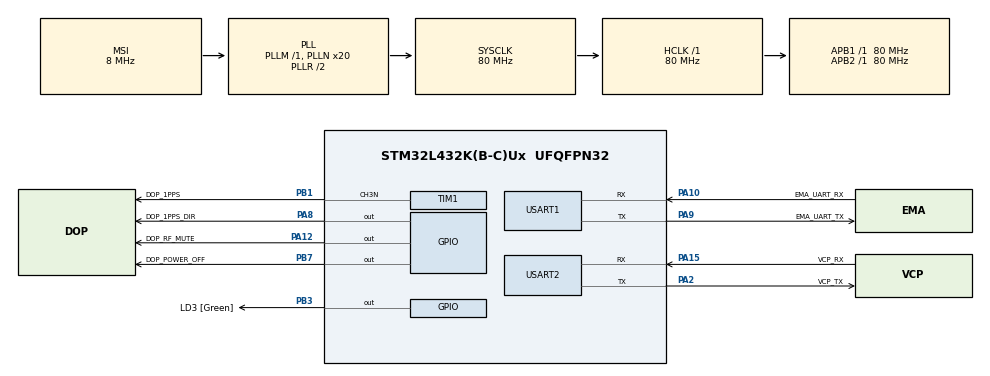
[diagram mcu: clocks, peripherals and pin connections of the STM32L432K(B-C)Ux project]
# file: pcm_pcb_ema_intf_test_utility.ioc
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FREERTOS.INCLUDE_eTaskGetState=1
FREERTOS.INCLUDE_uxTaskGetStackHighWaterMark=1
FREERTOS.INCLUDE_vTaskDelayUntil=1
FREERTOS.INCLUDE_xQueueGetMutexHolder=1
FREERTOS.Queues01=serialRxEventQueue,256,uint32_t,0,Dynamic,NULL,NULL;serialCmdTaskPcRxData,256,uint32_t,0,Dynamic,NULL,NULL;serialCmdTaskPcTxData,256,uint32_t,0,Dynamic,NULL,NULL;serialCmdTaskEmaRxData,256,uint32_t,0,Dynamic,NULL,NULL;serialCmdTaskEmaTxData,256,uint32_t,0,Dynamic,NULL,NULL
FREERTOS.Tasks01=defaultTask,0,128,StartDefaultTask,Default,NULL,Dynamic,NULL,NULL;serialBufferRxTask,0,256,sbt_SerialBufferRxTask,As external,NULL,Dynamic,NULL,NULL;serialCmdTask,0,512,sct_SerialCmdTask,As external,NULL,Dynamic,NULL,NULL;serialBufferTxTask,0,256,sbt_SerialBufferTxTask,As external,NULL,Dynamic,NULL,NULL;serialCmdEmaTask,0,128,sct_SerialCmdEmaTask,As external,NULL,Dynamic,NULL,NULL
FREERTOS.configMAX_TASK_NAME_LEN=32
FREERTOS.configTOTAL_HEAP_SIZE=12000
Mcu.Family=STM32L4
Mcu.Name=STM32L432K(B-C)Ux
Mcu.Package=UFQFPN32
NVIC.PriorityGroup=NVIC_PRIORITYGROUP_4
NVIC.TIM1_CC_IRQn=true\:5\:0\:true\:false\:true\:false\:true\:true
NVIC.TIM2_IRQn=true\:0\:0\:false\:false\:true\:false\:false\:true
NVIC.TimeBase=TIM2_IRQn
NVIC.TimeBaseIP=TIM2
NVIC.USART1_IRQn=true\:5\:0\:false\:false\:true\:true\:true\:true
NVIC.USART2_IRQn=true\:5\:0\:false\:false\:true\:true\:true\:true
PA0.GPIO_Label=MCO [High speed clock in]
PA0.Signal=RCC_CK_IN
PA10.GPIO_Label=EMA_UART_RX
PA10.Mode=Asynchronous
PA10.Signal=USART1_RX
PA12.GPIO_Label=DOP_RF_MUTE
PA12.Signal=GPIO_Output
PA13\ (JTMS-SWDIO).GPIO_Label=SWDIO
PA13\ (JTMS-SWDIO).Mode=Serial_Wire
PA13\ (JTMS-SWDIO).Signal=SYS_JTMS-SWDIO
PA14\ (JTCK-SWCLK).GPIO_Label=SWCLK
PA14\ (JTCK-SWCLK).Mode=Serial_Wire
PA14\ (JTCK-SWCLK).Signal=SYS_JTCK-SWCLK
PA15\ (JTDI).GPIO_Label=VCP_RX
PA15\ (JTDI).Mode=Asynchronous
PA15\ (JTDI).Signal=USART2_RX
PA2.GPIO_Label=VCP_TX
PA2.Mode=Asynchronous
PA2.Signal=USART2_TX
PA8.GPIO_Label=DOP_1PPS_DIR
PA8.PinState=GPIO_PIN_SET
PA8.Signal=GPIO_Output
PA9.GPIO_Label=EMA_UART_TX
PA9.Mode=Asynchronous
PA9.Signal=USART1_TX
PB1.GPIO_Label=DOP_1PPS
PB1.Mode=PWM Generation3 CH3N
PB1.Signal=TIM1_CH3N
PB3\ (JTDO-TRACESWO).GPIO_Label=LD3 [Green]
PB3\ (JTDO-TRACESWO).Signal=GPIO_Output
PB7.GPIO_Label=DOP_POWER_OFF
PB7.Signal=GPIO_Output
PC14-OSC32_IN\ (PC14).Mode=LSE-External-Oscillator
PC14-OSC32_IN\ (PC14).Signal=RCC_OSC32_IN
PC15-OSC32_OUT\ (PC15).Mode=LSE-External-Oscillator
PC15-OSC32_OUT\ (PC15).Signal=RCC_OSC32_OUT
ProjectManager.HeapSize=0x200
ProjectManager.StackSize=0x400
ProjectManager.TargetToolchain=STM32CubeIDE
RCC.ADCFreq_Value=32000000
RCC.AHBFreq_Value=80000000
RCC.APB1Freq_Value=80000000
RCC.APB1TimFreq_Value=80000000
RCC.APB2Freq_Value=80000000
RCC.APB2TimFreq_Value=80000000
RCC.CortexFreq_Value=80000000
RCC.HCLKFreq_Value=80000000
RCC.HSE_VALUE=8000000
RCC.HSI16_VALUE=16000000
RCC.HSI48_VALUE=48000000
RCC.HSI_VALUE=16000000
RCC.MSIClockRange=RCC_MSIRANGE_7
RCC.MSI_VALUE=8000000
RCC.PLLMUL=RCC_PLLMUL_4
RCC.PLLN=20
RCC.SYSCLKFreq_VALUE=80000000
RCC.SYSCLKSource=RCC_SYSCLKSOURCE_PLLCLK
RCC.USBFreq_Value=32000000
RCC.VCOOutputFreq_Value=160000000
TIM1.Channel-PWM\ Generation3\ CH3N=TIM_CHANNEL_3
TIM1.OCFastMode_PWM-PWM\ Generation3\ CH3N=TIM_OCFAST_ENABLE
TIM1.Period=10000
TIM1.Prescaler=8000
TIM1.Pulse-PWM\ Generation3\ CH3N=100
USART1.VirtualMode-Asynchronous=VM_ASYNC
USART2.VirtualMode-Asynchronous=VM_ASYNC
VP_FREERTOS_VS_CMSIS_V1.Mode=CMSIS_V1
VP_SYS_VS_tim2.Mode=TIM2
VP_TIM1_VS_ClockSourceINT.Mode=Internal
board=NUCLEO-L432KC

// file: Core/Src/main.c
/* USER CODE BEGIN Header */
/**
  ******************************************************************************
  * @file           : main.c
  * @brief          : Main program body
  ******************************************************************************
  * @attention
  *
  * <h2><center>&copy; Copyright (c) 2020 STMicroelectronics.
  * All rights reserved.</center></h2>
  *
  * This software component is licensed by ST under BSD 3-Clause license,
  * the "License"; You may not use this file except in compliance with the
  * License. You may obtain a copy of the License at:
  *                        opensource.org/licenses/BSD-3-Clause
  *
  ******************************************************************************
  */
/* USER CODE END Header */
#include "main.h"
#include "cmsis_os.h"

/* USER CODE BEGIN Includes */
#include "serial_buffer_task.h"
#include "serial_cmd_task.h"
/* USER CODE END Includes */

TIM_HandleTypeDef htim1;

UART_HandleTypeDef huart1;
UART_HandleTypeDef huart2;

osThreadId defaultTaskHandle;
osThreadId serialBufferRxTaskHandle;
osThreadId serialCmdTaskHandle;
osThreadId serialBufferTxTaskHandle;
osThreadId serialCmdEmaTaskHandle;
osMessageQId serialRxEventQueueHandle;
osMessageQId serialCmdTaskPcRxDataHandle;
osMessageQId serialCmdTaskPcTxDataHandle;
osMessageQId serialCmdTaskEmaRxDataHandle;
osMessageQId serialCmdTaskEmaTxDataHandle;

void SystemClock_Config(void);
static void MX_GPIO_Init(void);
static void MX_TIM1_Init(void);
static void MX_USART1_UART_Init(void);
static void MX_USART2_UART_Init(void);
void StartDefaultTask(void const * argument);
extern void sbt_SerialBufferRxTask(void const * argument);
extern void sct_SerialCmdTask(void const * argument);
extern void sbt_SerialBufferTxTask(void const * argument);
extern void sct_SerialCmdEmaTask(void const * argument);

int main(void)
{
  /* USER CODE BEGIN 1 */
	sct_Init_t sct_init_data;
	sbt_Init_t sbt_init_data;
  /* USER CODE END 1 */

  /* MCU Configuration--------------------------------------------------------*/

  /* Reset of all peripherals, Initializes the Flash interface and the Systick. */
  HAL_Init();

  /* Configure the system clock */
  SystemClock_Config();

  /* Initialize all configured peripherals */
  MX_GPIO_Init();
  MX_TIM1_Init();
  MX_USART1_UART_Init();
  MX_USART2_UART_Init();

  /* Create the queue(s) */
  /* definition and creation of serialRxEventQueue */
  osMessageQDef(serialRxEventQueue, 256, uint32_t);
  serialRxEventQueueHandle = osMessageCreate(osMessageQ(serialRxEventQueue), NULL);

  /* definition and creation of serialCmdTaskPcRxData */
  osMessageQDef(serialCmdTaskPcRxData, 256, uint32_t);
  serialCmdTaskPcRxDataHandle = osMessageCreate(osMessageQ(serialCmdTaskPcRxData), NULL);

  /* definition and creation of serialCmdTaskPcTxData */
  osMessageQDef(serialCmdTaskPcTxData, 256, uint32_t);
  serialCmdTaskPcTxDataHandle = osMessageCreate(osMessageQ(serialCmdTaskPcTxData), NULL);

  /* definition and creation of serialCmdTaskEmaRxData */
  osMessageQDef(serialCmdTaskEmaRxData, 256, uint32_t);
  serialCmdTaskEmaRxDataHandle = osMessageCreate(osMessageQ(serialCmdTaskEmaRxData), NULL);

  /* definition and creation of serialCmdTaskEmaTxData */
  osMessageQDef(serialCmdTaskEmaTxData, 256, uint32_t);
  serialCmdTaskEmaTxDataHandle = osMessageCreate(osMessageQ(serialCmdTaskEmaTxData), NULL);

  /* Create the thread(s) */
  /* definition and creation of defaultTask */
  osThreadDef(defaultTask, StartDefaultTask, osPriorityNormal, 0, 128);
  defaultTaskHandle = osThreadCreate(osThread(defaultTask), NULL);

  /* definition and creation of serialBufferRxTask */
  osThreadDef(serialBufferRxTask, sbt_SerialBufferRxTask, osPriorityNormal, 0, 256);
  serialBufferRxTaskHandle = osThreadCreate(osThread(serialBufferRxTask), NULL);

  /* definition and creation of serialCmdTask */
  osThreadDef(serialCmdTask, sct_SerialCmdTask, osPriorityNormal, 0, 512);
  serialCmdTaskHandle = osThreadCreate(osThread(serialCmdTask), NULL);

  /* definition and creation of serialBufferTxTask */
  osThreadDef(serialBufferTxTask, sbt_SerialBufferTxTask, osPriorityNormal, 0, 256);
  serialBufferTxTaskHandle = osThreadCreate(osThread(serialBufferTxTask), NULL);

  /* definition and creation of serialCmdEmaTask */
  osThreadDef(serialCmdEmaTask, sct_SerialCmdEmaTask, osPriorityNormal, 0, 128);
  serialCmdEmaTaskHandle = osThreadCreate(osThread(serialCmdEmaTask), NULL);

  /* USER CODE BEGIN RTOS_THREADS */
  sbt_init_data.rx_event_queue				= serialRxEventQueueHandle;
  sbt_init_data.no_uarts					= 2;
  sbt_init_data.uarts[0].huart 				= &huart1;
  sbt_init_data.uarts[0].uart_rx_data_queue	= serialCmdTaskEmaRxDataHandle;
  sbt_init_data.uarts[0].uart_tx_data_queue	= serialCmdTaskEmaTxDataHandle;
  sbt_init_data.uarts[1].huart 				= &huart2;
  sbt_init_data.uarts[1].uart_rx_data_queue	= serialCmdTaskPcRxDataHandle;
  sbt_init_data.uarts[1].uart_tx_data_queue	= serialCmdTaskPcTxDataHandle;
  sbt_InitTask(sbt_init_data);

  sct_init_data.pc_tx_data_queue 		= serialCmdTaskPcTxDataHandle;
  sct_init_data.pc_rx_data_queue 		= serialCmdTaskPcRxDataHandle;
  sct_init_data.ema_tx_data_queue 		= serialCmdTaskEmaTxDataHandle;
  sct_init_data.ema_rx_data_queue 		= serialCmdTaskEmaRxDataHandle;
  sct_init_data.dop_power_off_pin_port	= DOP_POWER_OFF_GPIO_Port;
  sct_init_data.dop_power_off_pin		= DOP_POWER_OFF_Pin;
  sct_init_data.dop_rf_mute_pin_port	= DOP_RF_MUTE_GPIO_Port;
  sct_init_data.dop_rf_mute_pin			= DOP_RF_MUTE_Pin;
  sct_init_data.htim_1pps				= &htim1;
  sct_init_data.tim_channel_1pps		= TIM_CHANNEL_3;
  sct_InitTask(sct_init_data);
  /* USER CODE END RTOS_THREADS */

  /* Start scheduler */
  osKernelStart();

  /* We should never get here as control is now taken by the scheduler */
  /* Infinite loop */
  while (1)
  {

  }
}

void SystemClock_Config(void)
{
  RCC_OscInitTypeDef RCC_OscInitStruct = {0};
  RCC_ClkInitTypeDef RCC_ClkInitStruct = {0};
  RCC_PeriphCLKInitTypeDef PeriphClkInit = {0};

  /** Configure LSE Drive Capability
  */
  HAL_PWR_EnableBkUpAccess();
  __HAL_RCC_LSEDRIVE_CONFIG(RCC_LSEDRIVE_LOW);
  /** Initializes the RCC Oscillators according to the specified parameters
  * in the RCC_OscInitTypeDef structure.
  */
  RCC_OscInitStruct.OscillatorType = RCC_OSCILLATORTYPE_LSE|RCC_OSCILLATORTYPE_MSI;
  RCC_OscInitStruct.LSEState = RCC_LSE_ON;
  RCC_OscInitStruct.MSIState = RCC_MSI_ON;
  RCC_OscInitStruct.MSICalibrationValue = 0;
  RCC_OscInitStruct.MSIClockRange = RCC_MSIRANGE_7;
  RCC_OscInitStruct.PLL.PLLState = RCC_PLL_ON;
  RCC_OscInitStruct.PLL.PLLSource = RCC_PLLSOURCE_MSI;
  RCC_OscInitStruct.PLL.PLLM = 1;
  RCC_OscInitStruct.PLL.PLLN = 20;
  RCC_OscInitStruct.PLL.PLLP = RCC_PLLP_DIV7;
  RCC_OscInitStruct.PLL.PLLQ = RCC_PLLQ_DIV2;
  RCC_OscInitStruct.PLL.PLLR = RCC_PLLR_DIV2;
  if (HAL_RCC_OscConfig(&RCC_OscInitStruct) != HAL_OK)
  {
    Error_Handler();
  }
  /** Initializes the CPU, AHB and APB buses clocks
  */
  RCC_ClkInitStruct.ClockType = RCC_CLOCKTYPE_HCLK|RCC_CLOCKTYPE_SYSCLK
                              |RCC_CLOCKTYPE_PCLK1|RCC_CLOCKTYPE_PCLK2;
  RCC_ClkInitStruct.SYSCLKSource = RCC_SYSCLKSOURCE_PLLCLK;
  RCC_ClkInitStruct.AHBCLKDivider = RCC_SYSCLK_DIV1;
  RCC_ClkInitStruct.APB1CLKDivider = RCC_HCLK_DIV1;
  RCC_ClkInitStruct.APB2CLKDivider = RCC_HCLK_DIV1;

  if (HAL_RCC_ClockConfig(&RCC_ClkInitStruct, FLASH_LATENCY_4) != HAL_OK)
  {
    Error_Handler();
  }
  PeriphClkInit.PeriphClockSelection = RCC_PERIPHCLK_USART1|RCC_PERIPHCLK_USART2;
  PeriphClkInit.Usart1ClockSelection = RCC_USART1CLKSOURCE_PCLK2;
  PeriphClkInit.Usart2ClockSelection = RCC_USART2CLKSOURCE_PCLK1;
  if (HAL_RCCEx_PeriphCLKConfig(&PeriphClkInit) != HAL_OK)
  {
    Error_Handler();
  }
  /** Configure the main internal regulator output voltage
  */
  if (HAL_PWREx_ControlVoltageScaling(PWR_REGULATOR_VOLTAGE_SCALE1) != HAL_OK)
  {
    Error_Handler();
  }
  /** Enable MSI Auto calibration
  */
  HAL_RCCEx_EnableMSIPLLMode();
}

static void MX_TIM1_Init(void)
{

  TIM_ClockConfigTypeDef sClockSourceConfig = {0};
  TIM_MasterConfigTypeDef sMasterConfig = {0};
  TIM_OC_InitTypeDef sConfigOC = {0};
  TIM_BreakDeadTimeConfigTypeDef sBreakDeadTimeConfig = {0};

  htim1.Instance = TIM1;
  htim1.Init.Prescaler = 8000;
  htim1.Init.CounterMode = TIM_COUNTERMODE_UP;
  htim1.Init.Period = 10000;
  htim1.Init.ClockDivision = TIM_CLOCKDIVISION_DIV1;
  htim1.Init.RepetitionCounter = 0;
  htim1.Init.AutoReloadPreload = TIM_AUTORELOAD_PRELOAD_DISABLE;
  if (HAL_TIM_Base_Init(&htim1) != HAL_OK)
  {
    Error_Handler();
  }
  sClockSourceConfig.ClockSource = TIM_CLOCKSOURCE_INTERNAL;
  if (HAL_TIM_ConfigClockSource(&htim1, &sClockSourceConfig) != HAL_OK)
  {
    Error_Handler();
  }
  if (HAL_TIM_PWM_Init(&htim1) != HAL_OK)
  {
    Error_Handler();
  }
  sMasterConfig.MasterOutputTrigger = TIM_TRGO_RESET;
  sMasterConfig.MasterOutputTrigger2 = TIM_TRGO2_RESET;
  sMasterConfig.MasterSlaveMode = TIM_MASTERSLAVEMODE_DISABLE;
  if (HAL_TIMEx_MasterConfigSynchronization(&htim1, &sMasterConfig) != HAL_OK)
  {
    Error_Handler();
  }
  sConfigOC.OCMode = TIM_OCMODE_PWM1;
  sConfigOC.Pulse = 100;
  sConfigOC.OCPolarity = TIM_OCPOLARITY_HIGH;
  sConfigOC.OCNPolarity = TIM_OCNPOLARITY_HIGH;
  sConfigOC.OCFastMode = TIM_OCFAST_ENABLE;
  sConfigOC.OCIdleState = TIM_OCIDLESTATE_RESET;
  sConfigOC.OCNIdleState = TIM_OCNIDLESTATE_RESET;
  if (HAL_TIM_PWM_ConfigChannel(&htim1, &sConfigOC, TIM_CHANNEL_3) != HAL_OK)
  {
    Error_Handler();
  }
  sBreakDeadTimeConfig.OffStateRunMode = TIM_OSSR_DISABLE;
  sBreakDeadTimeConfig.OffStateIDLEMode = TIM_OSSI_DISABLE;
  sBreakDeadTimeConfig.LockLevel = TIM_LOCKLEVEL_OFF;
  sBreakDeadTimeConfig.DeadTime = 0;
  sBreakDeadTimeConfig.BreakState = TIM_BREAK_DISABLE;
  sBreakDeadTimeConfig.BreakPolarity = TIM_BREAKPOLARITY_HIGH;
  sBreakDeadTimeConfig.BreakFilter = 0;
  sBreakDeadTimeConfig.Break2State = TIM_BREAK2_DISABLE;
  sBreakDeadTimeConfig.Break2Polarity = TIM_BREAK2POLARITY_HIGH;
  sBreakDeadTimeConfig.Break2Filter = 0;
  sBreakDeadTimeConfig.AutomaticOutput = TIM_AUTOMATICOUTPUT_DISABLE;
  if (HAL_TIMEx_ConfigBreakDeadTime(&htim1, &sBreakDeadTimeConfig) != HAL_OK)
  {
    Error_Handler();
  }
  HAL_TIM_MspPostInit(&htim1);

}

static void MX_USART1_UART_Init(void)
{

  huart1.Instance = USART1;
  huart1.Init.BaudRate = 115200;
  huart1.Init.WordLength = UART_WORDLENGTH_8B;
  huart1.Init.StopBits = UART_STOPBITS_1;
  huart1.Init.Parity = UART_PARITY_NONE;
  huart1.Init.Mode = UART_MODE_TX_RX;
  huart1.Init.HwFlowCtl = UART_HWCONTROL_NONE;
  huart1.Init.OverSampling = UART_OVERSAMPLING_16;
  huart1.Init.OneBitSampling = UART_ONE_BIT_SAMPLE_DISABLE;
  huart1.AdvancedInit.AdvFeatureInit = UART_ADVFEATURE_NO_INIT;
  if (HAL_UART_Init(&huart1) != HAL_OK)
  {
    Error_Handler();
  }

}

static void MX_USART2_UART_Init(void)
{

  huart2.Instance = USART2;
  huart2.Init.BaudRate = 115200;
  huart2.Init.WordLength = UART_WORDLENGTH_8B;
  huart2.Init.StopBits = UART_STOPBITS_1;
  huart2.Init.Parity = UART_PARITY_NONE;
  huart2.Init.Mode = UART_MODE_TX_RX;
  huart2.Init.HwFlowCtl = UART_HWCONTROL_NONE;
  huart2.Init.OverSampling = UART_OVERSAMPLING_16;
  huart2.Init.OneBitSampling = UART_ONE_BIT_SAMPLE_DISABLE;
  huart2.AdvancedInit.AdvFeatureInit = UART_ADVFEATURE_NO_INIT;
  if (HAL_UART_Init(&huart2) != HAL_OK)
  {
    Error_Handler();
  }

}

static void MX_GPIO_Init(void)
{
  GPIO_InitTypeDef GPIO_InitStruct = {0};

  /* GPIO Ports Clock Enable */
  __HAL_RCC_GPIOC_CLK_ENABLE();
  __HAL_RCC_GPIOA_CLK_ENABLE();
  __HAL_RCC_GPIOB_CLK_ENABLE();

  /*Configure GPIO pin Output Level */
  HAL_GPIO_WritePin(DOP_1PPS_DIR_GPIO_Port, DOP_1PPS_DIR_Pin, GPIO_PIN_SET);

  /*Configure GPIO pin Output Level */
  HAL_GPIO_WritePin(DOP_RF_MUTE_GPIO_Port, DOP_RF_MUTE_Pin, GPIO_PIN_RESET);

  /*Configure GPIO pin Output Level */
  HAL_GPIO_WritePin(GPIOB, LD3_Pin|DOP_POWER_OFF_Pin, GPIO_PIN_RESET);

  /*Configure GPIO pins : DOP_1PPS_DIR_Pin DOP_RF_MUTE_Pin */
  GPIO_InitStruct.Pin = DOP_1PPS_DIR_Pin|DOP_RF_MUTE_Pin;
  GPIO_InitStruct.Mode = GPIO_MODE_OUTPUT_PP;
  GPIO_InitStruct.Pull = GPIO_NOPULL;
  GPIO_InitStruct.Speed = GPIO_SPEED_FREQ_LOW;
  HAL_GPIO_Init(GPIOA, &GPIO_InitStruct);

  /*Configure GPIO pins : LD3_Pin DOP_POWER_OFF_Pin */
  GPIO_InitStruct.Pin = LD3_Pin|DOP_POWER_OFF_Pin;
  GPIO_InitStruct.Mode = GPIO_MODE_OUTPUT_PP;
  GPIO_InitStruct.Pull = GPIO_NOPULL;
  GPIO_InitStruct.Speed = GPIO_SPEED_FREQ_LOW;
  HAL_GPIO_Init(GPIOB, &GPIO_InitStruct);

}

void StartDefaultTask(void const * argument)
{
  /* USER CODE BEGIN 5 */
  /* Infinite loop */
  for(;;)
  {
	  osDelay(1U);
  }
  /* USER CODE END 5 */
}

void HAL_TIM_PeriodElapsedCallback(TIM_HandleTypeDef *htim)
{
  if (htim->Instance == TIM2) {
    HAL_IncTick();
  }
}

void Error_Handler(void)
{
}

/************************ (C) COPYRIGHT STMicroelectronics *****END OF FILE****/
